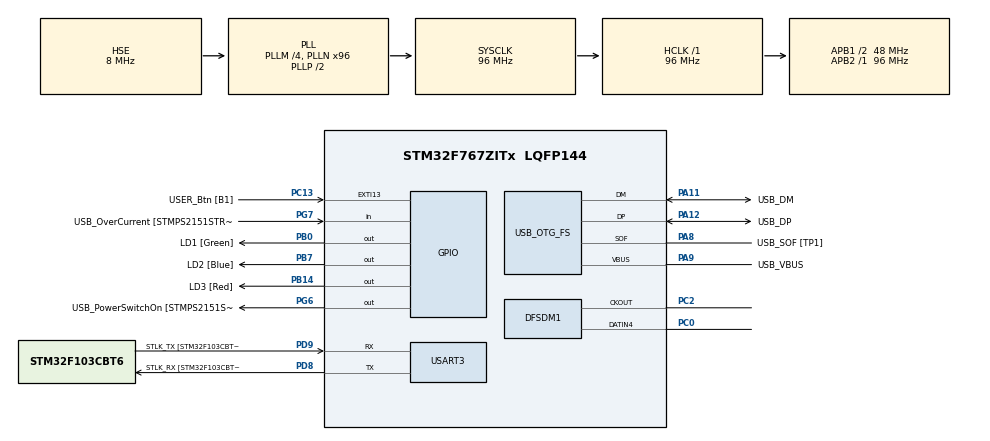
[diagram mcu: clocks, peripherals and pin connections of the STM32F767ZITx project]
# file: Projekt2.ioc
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DFSDM1.Divider=17
DFSDM1.DmaMode_reg_FIL3=ENABLE
DFSDM1.FastMode_reg_FIL3=ENABLE
DFSDM1.Filter_regChannel_FIL3=DFSDM_CHANNEL_4
DFSDM1.Fosr_FIL3=32
DFSDM1.SincOrder_FIL3=DFSDM_FILTER_SINC3_ORDER
Dma.DFSDM1_FLT3.0.Direction=DMA_PERIPH_TO_MEMORY
Dma.DFSDM1_FLT3.0.FIFOMode=DMA_FIFOMODE_DISABLE
Dma.DFSDM1_FLT3.0.Instance=DMA2_Stream3
Dma.DFSDM1_FLT3.0.MemDataAlignment=DMA_MDATAALIGN_WORD
Dma.DFSDM1_FLT3.0.MemInc=DMA_MINC_ENABLE
Dma.DFSDM1_FLT3.0.Mode=DMA_CIRCULAR
Dma.DFSDM1_FLT3.0.PeriphDataAlignment=DMA_PDATAALIGN_WORD
Dma.DFSDM1_FLT3.0.PeriphInc=DMA_PINC_DISABLE
Dma.DFSDM1_FLT3.0.Priority=DMA_PRIORITY_LOW
Dma.Request0=DFSDM1_FLT3
Mcu.Family=STM32F7
Mcu.Name=STM32F767ZITx
Mcu.Package=LQFP144
NVIC.DMA2_Stream3_IRQn=true\:0\:0\:false\:false\:true\:false\:true\:true
NVIC.PriorityGroup=NVIC_PRIORITYGROUP_4
PA1.GPIO_Label=RMII_REF_CLK [LAN8742A-CZ-TR_REFCLK0]
PA1.Signal=ETH_REF_CLK
PA10.GPIO_Label=USB_ID
PA10.Signal=USB_OTG_FS_ID
PA11.GPIO_Label=USB_DM
PA11.Mode=Device_Only
PA11.Signal=USB_OTG_FS_DM
PA12.GPIO_Label=USB_DP
PA12.Mode=Device_Only
PA12.Signal=USB_OTG_FS_DP
PA13.GPIO_Label=TMS
PA13.Mode=Serial_Wire
PA13.Signal=SYS_JTMS-SWDIO
PA14.GPIO_Label=TCK
PA14.Mode=Serial_Wire
PA14.Signal=SYS_JTCK-SWCLK
PA2.GPIO_Label=RMII_MDIO [LAN8742A-CZ-TR_MDIO]
PA2.Signal=ETH_MDIO
PA7.GPIO_Label=RMII_CRS_DV [LAN8742A-CZ-TR_CRS_DV]
PA7.Signal=ETH_CRS_DV
PA8.GPIO_Label=USB_SOF [TP1]
PA8.Mode=Activate_SOF_FS
PA8.Signal=USB_OTG_FS_SOF
PA9.GPIO_Label=USB_VBUS
PA9.Mode=Activate_VBUS
PA9.Signal=USB_OTG_FS_VBUS
PB0.GPIO_Label=LD1 [Green]
PB0.Signal=GPIO_Output
PB13.GPIO_Label=RMII_TXD1 [LAN8742A-CZ-TR_TXD1]
PB13.Signal=ETH_TXD1
PB14.GPIO_Label=LD3 [Red]
PB14.Signal=GPIO_Output
PB3.GPIO_Label=SWO
PB3.Signal=SYS_JTDO-SWO
PB7.GPIO_Label=LD2 [Blue]
PB7.Signal=GPIO_Output
PC0.Signal=S_DATAIN4DFSDM1
PC1.GPIO_Label=RMII_MDC [LAN8742A-CZ-TR_MDC]
PC1.Signal=ETH_MDC
PC13.GPIO_Label=USER_Btn [B1]
PC13.Signal=GPXTI13
PC14/OSC32_IN.Mode=LSE-External-Oscillator
PC14/OSC32_IN.Signal=RCC_OSC32_IN
PC15/OSC32_OUT.Mode=LSE-External-Oscillator
PC15/OSC32_OUT.Signal=RCC_OSC32_OUT
PC2.Signal=S_CKOUTDFSDM1
PC4.GPIO_Label=RMII_RXD0 [LAN8742A-CZ-TR_RXD0]
PC4.Signal=ETH_RXD0
PC5.GPIO_Label=RMII_RXD1 [LAN8742A-CZ-TR_RXD1]
PC5.Signal=ETH_RXD1
PD8.GPIO_Label=STLK_RX [STM32F103CBT6_PA3]
PD8.Mode=Asynchronous
PD8.Signal=USART3_TX
PD9.GPIO_Label=STLK_TX [STM32F103CBT6_PA2]
PD9.Mode=Asynchronous
PD9.Signal=USART3_RX
PG11.GPIO_Label=RMII_TX_EN [LAN8742A-CZ-TR_TXEN]
PG11.Signal=ETH_TX_EN
PG13.GPIO_Label=RMII_TXD0 [LAN8742A-CZ-TR_TXD0]
PG13.Signal=ETH_TXD0
PG6.GPIO_Label=USB_PowerSwitchOn [STMPS2151STR_EN]
PG6.Signal=GPIO_Output
PG7.GPIO_Label=USB_OverCurrent [STMPS2151STR_FAULT]
PG7.Signal=GPIO_Input
PH0/OSC_IN.GPIO_Label=MCO [STM32F103CBT6_PA8]
PH0/OSC_IN.Mode=HSE-External-Clock-Source
PH0/OSC_IN.Signal=RCC_OSC_IN
PH1/OSC_OUT.Mode=HSE-External-Clock-Source
PH1/OSC_OUT.Signal=RCC_OSC_OUT
ProjectManager.HeapSize=0x200
ProjectManager.StackSize=0x400
ProjectManager.TargetToolchain=STM32CubeIDE
RCC.48MHZClocksFreq_Value=24000000
RCC.AHBFreq_Value=96000000
RCC.APB1CLKDivider=RCC_HCLK_DIV2
RCC.APB1Freq_Value=48000000
RCC.APB1TimFreq_Value=96000000
RCC.APB2Freq_Value=96000000
RCC.APB2TimFreq_Value=96000000
RCC.CortexFreq_Value=96000000
RCC.HCLKFreq_Value=96000000
RCC.HSE_VALUE=8000000
RCC.HSI_VALUE=16000000
RCC.PLLM=4
RCC.PLLMUL=RCC_PLL_MUL9
RCC.PLLN=96
RCC.PLLQ=4
RCC.PRESCALERUSB=RCC_USBCLKSOURCE_PLL_DIV1_5
RCC.SYSCLKFreq_VALUE=96000000
RCC.SYSCLKSource=RCC_SYSCLKSOURCE_PLLCLK
RCC.SYSCLKSourceVirtual=RCC_SYSCLKSOURCE_PLLCLK
RCC.USBFreq_Value=48000000
RCC.VCOOutputFreq_Value=192000000
SH.S_CKOUTDFSDM1.0=DFSDM1_CKOUT,PDM_SPI_input_from_ch4_and_internal_clock
SH.S_CKOUTDFSDM1.1=DFSDM1_CKOUT,CKOUT
SH.S_DATAIN4DFSDM1.0=DFSDM1_DATIN4,PDM_SPI_input_from_ch4_and_internal_clock
USART3.VirtualMode-Asynchronous=VM_ASYNC
USB_OTG_FS.VirtualMode=Device_Only
board=NUCLEO-F767ZI

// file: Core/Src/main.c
/* USER CODE BEGIN Header */
/**
  ******************************************************************************
  * @file           : main.c
  * @brief          : Main program body
  ******************************************************************************
  * @attention
  *
  * Copyright (c) 2023 STMicroelectronics.
  * All rights reserved.
  *
  * This software is licensed under terms that can be found in the LICENSE file
  * in the root directory of this software component.
  * If no LICENSE file comes with this software, it is provided AS-IS.
  *
  ******************************************************************************
  */
/* USER CODE END Header */
#include "main.h"

/* USER CODE BEGIN Includes */
#include "math.h"
#include "stdbool.h"
#include "arm_math.h" //biblioteka potrzebna do wielu obliczeń w kodzie
#include <stdio.h>
/* USER CODE END Includes */

// zdefiniowanie użytych kanałów i filtrów DFSDM1 oraz DMA
DFSDM_Filter_HandleTypeDef hdfsdm1_filter3;
DFSDM_Channel_HandleTypeDef hdfsdm1_channel4;
DMA_HandleTypeDef hdma_dfsdm1_flt3;

UART_HandleTypeDef huart3;

PCD_HandleTypeDef hpcd_USB_OTG_FS;

/* USER CODE BEGIN PV */

//zdefiniowanie zmiennych
bool flag = true; //ustawienie wartości flagi
int32_t Buff[FFT_SampleNum * 2] = {0}; //wektor wartości próbek pobranych z mikrofonu

arm_rfft_fast_instance_f32 S;
float FFT_SampleRate; //częstotliwość próbkowania
int32_t FFT_inp_int32[FFT_SampleNum] = {0}; //wartości próbek przepisane z bufora
float FFT_inp[FFT_SampleNum] = {0.0f}; //wartości próbek w formacie float
float FFT_oup[FFT_SampleNum] = {0.0f}; //wartości próbek po transformacie Fouriera
float FFT_mag[FFT_SampleNum/2] = {0.0f}; //wartości wzmocnienienia
float FFT_dB[FFT_SampleNum/2] = {0.0f}; //
float FFT_frq[FFT_SampleNum/2] = {0.0f}; //wartości częstotliwości
float FFT_window[FFT_SampleNum] = {0.0f}; //wartości użyte w oknie Hanninga

/* USER CODE END PV */

void SystemClock_Config(void);
static void MX_GPIO_Init(void);
static void MX_USART3_UART_Init(void);
static void MX_USB_OTG_FS_PCD_Init(void);
static void MX_DFSDM1_Init(void);
static void MX_DMA_Init(void);

int main(void)
{

  /* MCU Configuration--------------------------------------------------------*/

  /* Reset of all peripherals, Initializes the Flash interface and the Systick. */
  HAL_Init();

  /* Configure the system clock */
  SystemClock_Config();

  /* Initialize all configured peripherals */
  MX_GPIO_Init();
  MX_USART3_UART_Init();
  MX_USB_OTG_FS_PCD_Init();
  MX_DFSDM1_Init();
  MX_DMA_Init();
  /* USER CODE BEGIN 2 */

  printf("\r\n***** Program start! *****\r\n");
   HAL_Delay(100);
     if (HAL_DFSDM_FilterRegularStart_DMA(&hdfsdm1_filter3, Buff, FFT_SampleNum) != HAL_OK)
     {
    	 Error_Handler();
     }

     // FFT init
     FFT_SampleRate = SystemCoreClock / hdfsdm1_channel4.Init.OutputClock.Divider
             / hdfsdm1_filter3.Init.FilterParam.Oversampling
             / hdfsdm1_filter3.Init.FilterParam.IntOversampling;

     const float tmp = 2.0f * M_PI / (float) FFT_SampleNum;
     for (uint32_t i = 0; i < FFT_SampleNum; i++)
         *(FFT_window + i) = 0.5f - 0.5f * arm_cos_f32((float) i * tmp); //okno Hanninga

     for (uint32_t i = 0; i < FFT_SampleNum / 2; i++)
         *(FFT_frq + i) = (float)i * (float)FFT_SampleRate / (float) FFT_SampleNum; //obliczanie częstotliwości

     arm_rfft_fast_init_f32(&S, FFT_SampleNum );

  /* USER CODE END 2 */

  /* Infinite loop */
  /* USER CODE BEGIN WHILE */
  while (1)
  {
	  // Wait
	  	  	  while (flag);

	          for (uint32_t i = 0; i < FFT_SampleNum; i++) //zmiana formatu wektora danych z int32_t na float
	              FFT_inp[i] = (float) FFT_inp_int32[i];

	          arm_mult_f32(FFT_inp, FFT_window, FFT_inp, FFT_SampleNum); //mnożenie wartości próbek przez okno Hanninga

	          arm_rfft_fast_f32(&S, FFT_inp, FFT_oup, 0); //obliczenie transformaty Fouriera (FFT)

	          arm_cmplx_mag_f32(FFT_oup, FFT_mag, FFT_SampleNum / 2); //obliczenie wzmocnienia na podstawie FFT

	          arm_scale_f32(FFT_mag, 1.0f / sqrtf((float) FFT_SampleNum), FFT_mag, FFT_SampleNum / 2); //normalizacja wartości wzmocnienia

	          for (uint32_t i = 0; i < FFT_SampleNum / 2; i++) //filtracja górnoprzepustowa
	          {
	              if (*(FFT_frq + i) < FFT_AC_COUPLING_HZ)
	                  FFT_mag[i] = 1.0f;
	              else
	                  break;
	          }

	          float inv_dB_base_mag = 1.0f / 1.0f;
	          for (uint32_t i = 0; i < FFT_SampleNum / 2; i++)
	              FFT_dB[i] = 10.0f * log10f(FFT_mag[i] * inv_dB_base_mag); //zamiana skali wzmocnienia na logarytmiczą

	          float mag_max, frq_max;
	          uint32_t maxIndex;
	          arm_max_f32(FFT_mag, FFT_SampleNum / 2, &mag_max, &maxIndex); //obliczenie maksymalnego wzmocnienia
	          frq_max = *(FFT_frq + maxIndex); //obliczenie częstotliwości dla maksymalnego wzmocnienia

	          printf("\r\nSampleRate=%d, frq_max = %.1f, mag_max = %f\r\n", (int)FFT_SampleRate, frq_max, mag_max);
	          for (uint32_t i = 0; i < FFT_SampleNum / 2; i++)
	          {
	              printf("%.1f\t%f\t%f\r\n", FFT_frq[i], FFT_mag[i], FFT_dB[i]); //wyświetlanie poszczególnych wartości wektorów
	          }

	          HAL_Delay(2000);
	          flag = true;
    /* USER CODE END WHILE */

  }
}

void SystemClock_Config(void)
{
  RCC_OscInitTypeDef RCC_OscInitStruct = {0};
  RCC_ClkInitTypeDef RCC_ClkInitStruct = {0};

  /** Configure LSE Drive Capability
  */
  HAL_PWR_EnableBkUpAccess();

  /** Configure the main internal regulator output voltage
  */
  __HAL_RCC_PWR_CLK_ENABLE();
  __HAL_PWR_VOLTAGESCALING_CONFIG(PWR_REGULATOR_VOLTAGE_SCALE3);

  /** Initializes the RCC Oscillators according to the specified parameters
  * in the RCC_OscInitTypeDef structure.
  */
  RCC_OscInitStruct.OscillatorType = RCC_OSCILLATORTYPE_HSE;
  RCC_OscInitStruct.HSEState = RCC_HSE_BYPASS;
  RCC_OscInitStruct.PLL.PLLState = RCC_PLL_ON;
  RCC_OscInitStruct.PLL.PLLSource = RCC_PLLSOURCE_HSE;
  RCC_OscInitStruct.PLL.PLLM = 4;
  RCC_OscInitStruct.PLL.PLLN = 96;
  RCC_OscInitStruct.PLL.PLLP = RCC_PLLP_DIV2;
  RCC_OscInitStruct.PLL.PLLQ = 4;
  RCC_OscInitStruct.PLL.PLLR = 2;
  if (HAL_RCC_OscConfig(&RCC_OscInitStruct) != HAL_OK)
  {
    Error_Handler();
  }

  /** Activate the Over-Drive mode
  */
  if (HAL_PWREx_EnableOverDrive() != HAL_OK)
  {
    Error_Handler();
  }

  /** Initializes the CPU, AHB and APB buses clocks
  */
  RCC_ClkInitStruct.ClockType = RCC_CLOCKTYPE_HCLK|RCC_CLOCKTYPE_SYSCLK
                              |RCC_CLOCKTYPE_PCLK1|RCC_CLOCKTYPE_PCLK2;
  RCC_ClkInitStruct.SYSCLKSource = RCC_SYSCLKSOURCE_PLLCLK;
  RCC_ClkInitStruct.AHBCLKDivider = RCC_SYSCLK_DIV1;
  RCC_ClkInitStruct.APB1CLKDivider = RCC_HCLK_DIV2;
  RCC_ClkInitStruct.APB2CLKDivider = RCC_HCLK_DIV1;

  if (HAL_RCC_ClockConfig(&RCC_ClkInitStruct, FLASH_LATENCY_3) != HAL_OK)
  {
    Error_Handler();
  }
}

static void MX_DFSDM1_Init(void)
{

  hdfsdm1_filter3.Instance = DFSDM1_Filter3;
  hdfsdm1_filter3.Init.RegularParam.Trigger = DFSDM_FILTER_SW_TRIGGER;
  hdfsdm1_filter3.Init.RegularParam.FastMode = ENABLE;
  hdfsdm1_filter3.Init.RegularParam.DmaMode = ENABLE;
  hdfsdm1_filter3.Init.FilterParam.SincOrder = DFSDM_FILTER_SINC3_ORDER;
  hdfsdm1_filter3.Init.FilterParam.Oversampling = 32;
  hdfsdm1_filter3.Init.FilterParam.IntOversampling = 1;
  HAL_DFSDM_FilterInit(&hdfsdm1_filter3);
  hdfsdm1_channel4.Instance = DFSDM1_Channel4;
  hdfsdm1_channel4.Init.OutputClock.Activation = ENABLE;
  hdfsdm1_channel4.Init.OutputClock.Selection = DFSDM_CHANNEL_OUTPUT_CLOCK_SYSTEM;
  hdfsdm1_channel4.Init.OutputClock.Divider = 17;
  hdfsdm1_channel4.Init.Input.Multiplexer = DFSDM_CHANNEL_EXTERNAL_INPUTS;
  hdfsdm1_channel4.Init.Input.DataPacking = DFSDM_CHANNEL_STANDARD_MODE;
  hdfsdm1_channel4.Init.Input.Pins = DFSDM_CHANNEL_SAME_CHANNEL_PINS;
  hdfsdm1_channel4.Init.SerialInterface.Type = DFSDM_CHANNEL_SPI_RISING;
  hdfsdm1_channel4.Init.SerialInterface.SpiClock = DFSDM_CHANNEL_SPI_CLOCK_INTERNAL;
  hdfsdm1_channel4.Init.Awd.FilterOrder = DFSDM_CHANNEL_FASTSINC_ORDER;
  hdfsdm1_channel4.Init.Awd.Oversampling = 1;
  hdfsdm1_channel4.Init.Offset = 0;
  hdfsdm1_channel4.Init.RightBitShift = 0x00;
  if (HAL_DFSDM_ChannelInit(&hdfsdm1_channel4) != HAL_OK)
  {
    Error_Handler();
  }
  HAL_DFSDM_FilterConfigRegChannel(&hdfsdm1_filter3, DFSDM_CHANNEL_4, DFSDM_CONTINUOUS_CONV_ON);

}

static void MX_USART3_UART_Init(void)
{

  huart3.Instance = USART3;
  huart3.Init.BaudRate = 115200;
  huart3.Init.WordLength = UART_WORDLENGTH_8B;
  huart3.Init.StopBits = UART_STOPBITS_1;
  huart3.Init.Parity = UART_PARITY_NONE;
  huart3.Init.Mode = UART_MODE_TX_RX;
  huart3.Init.HwFlowCtl = UART_HWCONTROL_NONE;
  huart3.Init.OverSampling = UART_OVERSAMPLING_16;
  huart3.Init.OneBitSampling = UART_ONE_BIT_SAMPLE_DISABLE;
  huart3.AdvancedInit.AdvFeatureInit = UART_ADVFEATURE_NO_INIT;
  if (HAL_UART_Init(&huart3) != HAL_OK)
  {
    Error_Handler();
  }

}

static void MX_USB_OTG_FS_PCD_Init(void)
{

  hpcd_USB_OTG_FS.Instance = USB_OTG_FS;
  hpcd_USB_OTG_FS.Init.dev_endpoints = 6;
  hpcd_USB_OTG_FS.Init.speed = PCD_SPEED_FULL;
  hpcd_USB_OTG_FS.Init.dma_enable = DISABLE;
  hpcd_USB_OTG_FS.Init.phy_itface = PCD_PHY_EMBEDDED;
  hpcd_USB_OTG_FS.Init.Sof_enable = ENABLE;
  hpcd_USB_OTG_FS.Init.low_power_enable = DISABLE;
  hpcd_USB_OTG_FS.Init.lpm_enable = DISABLE;
  hpcd_USB_OTG_FS.Init.vbus_sensing_enable = ENABLE;
  hpcd_USB_OTG_FS.Init.use_dedicated_ep1 = DISABLE;
  if (HAL_PCD_Init(&hpcd_USB_OTG_FS) != HAL_OK)
  {
    Error_Handler();
  }

}

static void MX_DMA_Init(void)
{

  /* DMA controller clock enable */
  __HAL_RCC_DMA2_CLK_ENABLE();

  /* DMA interrupt init */
  /* DMA2_Stream3_IRQn interrupt configuration */
  HAL_NVIC_SetPriority(DMA2_Stream3_IRQn, 0, 0);
  HAL_NVIC_EnableIRQ(DMA2_Stream3_IRQn);

}

static void MX_GPIO_Init(void)
{
  GPIO_InitTypeDef GPIO_InitStruct = {0};

  /* GPIO Ports Clock Enable */
  __HAL_RCC_GPIOC_CLK_ENABLE();
  __HAL_RCC_GPIOH_CLK_ENABLE();
  __HAL_RCC_GPIOA_CLK_ENABLE();
  __HAL_RCC_GPIOB_CLK_ENABLE();
  __HAL_RCC_GPIOD_CLK_ENABLE();
  __HAL_RCC_GPIOG_CLK_ENABLE();

  /*Configure GPIO pin Output Level */
  HAL_GPIO_WritePin(GPIOB, LD1_Pin|LD3_Pin|LD2_Pin, GPIO_PIN_RESET);

  /*Configure GPIO pin Output Level */
  HAL_GPIO_WritePin(USB_PowerSwitchOn_GPIO_Port, USB_PowerSwitchOn_Pin, GPIO_PIN_RESET);

  /*Configure GPIO pin : USER_Btn_Pin */
  GPIO_InitStruct.Pin = USER_Btn_Pin;
  GPIO_InitStruct.Mode = GPIO_MODE_IT_RISING;
  GPIO_InitStruct.Pull = GPIO_NOPULL;
  HAL_GPIO_Init(USER_Btn_GPIO_Port, &GPIO_InitStruct);

  /*Configure GPIO pins : RMII_MDC_Pin RMII_RXD0_Pin RMII_RXD1_Pin */
  GPIO_InitStruct.Pin = RMII_MDC_Pin|RMII_RXD0_Pin|RMII_RXD1_Pin;
  GPIO_InitStruct.Mode = GPIO_MODE_AF_PP;
  GPIO_InitStruct.Pull = GPIO_NOPULL;
  GPIO_InitStruct.Speed = GPIO_SPEED_FREQ_VERY_HIGH;
  GPIO_InitStruct.Alternate = GPIO_AF11_ETH;
  HAL_GPIO_Init(GPIOC, &GPIO_InitStruct);

  /*Configure GPIO pins : RMII_REF_CLK_Pin RMII_MDIO_Pin RMII_CRS_DV_Pin */
  GPIO_InitStruct.Pin = RMII_REF_CLK_Pin|RMII_MDIO_Pin|RMII_CRS_DV_Pin;
  GPIO_InitStruct.Mode = GPIO_MODE_AF_PP;
  GPIO_InitStruct.Pull = GPIO_NOPULL;
  GPIO_InitStruct.Speed = GPIO_SPEED_FREQ_VERY_HIGH;
  GPIO_InitStruct.Alternate = GPIO_AF11_ETH;
  HAL_GPIO_Init(GPIOA, &GPIO_InitStruct);

  /*Configure GPIO pins : LD1_Pin LD3_Pin LD2_Pin */
  GPIO_InitStruct.Pin = LD1_Pin|LD3_Pin|LD2_Pin;
  GPIO_InitStruct.Mode = GPIO_MODE_OUTPUT_PP;
  GPIO_InitStruct.Pull = GPIO_NOPULL;
  GPIO_InitStruct.Speed = GPIO_SPEED_FREQ_LOW;
  HAL_GPIO_Init(GPIOB, &GPIO_InitStruct);

  /*Configure GPIO pin : RMII_TXD1_Pin */
  GPIO_InitStruct.Pin = RMII_TXD1_Pin;
  GPIO_InitStruct.Mode = GPIO_MODE_AF_PP;
  GPIO_InitStruct.Pull = GPIO_NOPULL;
  GPIO_InitStruct.Speed = GPIO_SPEED_FREQ_VERY_HIGH;
  GPIO_InitStruct.Alternate = GPIO_AF11_ETH;
  HAL_GPIO_Init(RMII_TXD1_GPIO_Port, &GPIO_InitStruct);

  /*Configure GPIO pin : USB_PowerSwitchOn_Pin */
  GPIO_InitStruct.Pin = USB_PowerSwitchOn_Pin;
  GPIO_InitStruct.Mode = GPIO_MODE_OUTPUT_PP;
  GPIO_InitStruct.Pull = GPIO_NOPULL;
  GPIO_InitStruct.Speed = GPIO_SPEED_FREQ_LOW;
  HAL_GPIO_Init(USB_PowerSwitchOn_GPIO_Port, &GPIO_InitStruct);

  /*Configure GPIO pin : USB_OverCurrent_Pin */
  GPIO_InitStruct.Pin = USB_OverCurrent_Pin;
  GPIO_InitStruct.Mode = GPIO_MODE_INPUT;
  GPIO_InitStruct.Pull = GPIO_NOPULL;
  HAL_GPIO_Init(USB_OverCurrent_GPIO_Port, &GPIO_InitStruct);

  /*Configure GPIO pins : RMII_TX_EN_Pin RMII_TXD0_Pin */
  GPIO_InitStruct.Pin = RMII_TX_EN_Pin|RMII_TXD0_Pin;
  GPIO_InitStruct.Mode = GPIO_MODE_AF_PP;
  GPIO_InitStruct.Pull = GPIO_NOPULL;
  GPIO_InitStruct.Speed = GPIO_SPEED_FREQ_VERY_HIGH;
  GPIO_InitStruct.Alternate = GPIO_AF11_ETH;
  HAL_GPIO_Init(GPIOG, &GPIO_InitStruct);

}

/* USER CODE BEGIN 4 */
void HAL_DFSDM_FilterRegConvHalfCpltCallback(DFSDM_Filter_HandleTypeDef *hdfsdm_filter)
{
    /*static int i = 0;
    printf("%d\r\n", i);
    i++;*/
}

void HAL_DFSDM_FilterRegConvCpltCallback(DFSDM_Filter_HandleTypeDef *hdfsdm_filter)
{
    if (flag)
    {
        for (uint32_t i = 0; i < FFT_SampleNum; i++)
        {
            FFT_inp_int32[i] = Buff[i]; //przepisanie wartości z Bufora do wektora FFT_inp_int32
        }
        flag = false; //zmiana wartości flagi
    }

}

int _write(int file, char *ptr, int len)
{
    HAL_UART_Transmit(&huart3, (uint8_t *)ptr, (uint16_t)len, 0xFFFFFFFF); //zapisanie wyników do pliku
    return len;
}

/* USER CODE END 4 */

void Error_Handler(void)
{
  /* USER CODE BEGIN Error_Handler_Debug */
  /* User can add his own implementation to report the HAL error return state */
 // __disable_irq();
  while (1)
  {
  }
  /* USER CODE END Error_Handler_Debug */
}
